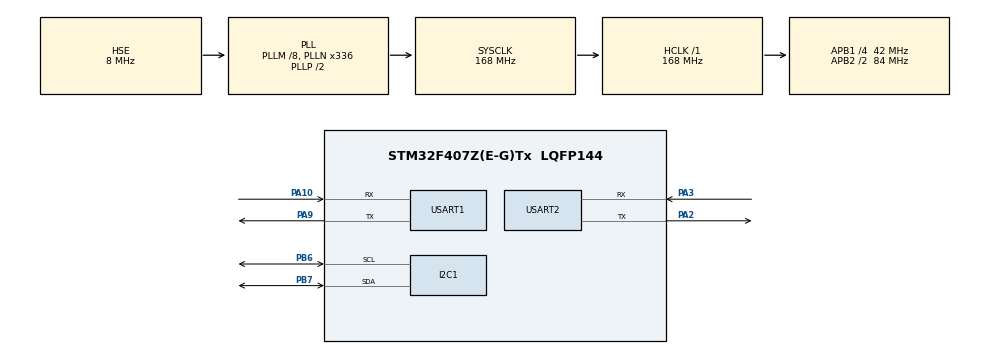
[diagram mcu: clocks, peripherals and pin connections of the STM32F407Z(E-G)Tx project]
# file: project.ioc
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FREERTOS.INCLUDE_vTaskDelayUntil=1
FREERTOS.Tasks01=UI,0,128,StartDefaultTask,Default,NULL,Dynamic,NULL,NULL;Comm,-1,128,StartTask02,Default,NULL,Dynamic,NULL,NULL
Mcu.Family=STM32F4
Mcu.Name=STM32F407Z(E-G)Tx
Mcu.Package=LQFP144
NVIC.PriorityGroup=NVIC_PRIORITYGROUP_4
NVIC.TIM1_UP_TIM10_IRQn=true\:15\:0\:false\:false\:true\:false\:false\:true\:true
NVIC.TimeBase=TIM1_UP_TIM10_IRQn
NVIC.TimeBaseIP=TIM1
NVIC.USART2_IRQn=true\:5\:0\:false\:false\:true\:true\:true\:true\:true
PA10.Mode=Asynchronous
PA10.Signal=USART1_RX
PA13.Mode=Serial_Wire
PA13.Signal=SYS_JTMS-SWDIO
PA14.Mode=Serial_Wire
PA14.Signal=SYS_JTCK-SWCLK
PA2.Mode=Asynchronous
PA2.Signal=USART2_TX
PA3.Mode=Asynchronous
PA3.Signal=USART2_RX
PA9.Mode=Asynchronous
PA9.Signal=USART1_TX
PB6.Mode=I2C
PB6.Signal=I2C1_SCL
PB7.Mode=I2C
PB7.Signal=I2C1_SDA
PC14-OSC32_IN.Mode=LSE-External-Oscillator
PC14-OSC32_IN.Signal=RCC_OSC32_IN
PC15-OSC32_OUT.Mode=LSE-External-Oscillator
PC15-OSC32_OUT.Signal=RCC_OSC32_OUT
PH0-OSC_IN.Mode=HSE-External-Oscillator
PH0-OSC_IN.Signal=RCC_OSC_IN
PH1-OSC_OUT.Mode=HSE-External-Oscillator
PH1-OSC_OUT.Signal=RCC_OSC_OUT
ProjectManager.HeapSize=0x200
ProjectManager.StackSize=0x400
ProjectManager.TargetToolchain=MDK-ARM V5.32
RCC.48MHZClocksFreq_Value=84000000
RCC.AHBFreq_Value=168000000
RCC.APB1CLKDivider=RCC_HCLK_DIV4
RCC.APB1Freq_Value=42000000
RCC.APB1TimFreq_Value=84000000
RCC.APB2CLKDivider=RCC_HCLK_DIV2
RCC.APB2Freq_Value=84000000
RCC.APB2TimFreq_Value=168000000
RCC.CortexFreq_Value=168000000
RCC.HCLKFreq_Value=168000000
RCC.HSE_VALUE=8000000
RCC.HSI_VALUE=16000000
RCC.PLLM=8
RCC.PLLN=336
RCC.PLLSourceVirtual=RCC_PLLSOURCE_HSE
RCC.SYSCLKFreq_VALUE=168000000
RCC.SYSCLKSource=RCC_SYSCLKSOURCE_PLLCLK
RCC.VCOOutputFreq_Value=336000000
RTC.Hours=11
RTC.Minutes=59
RTC.Seconds=55
USART1.VirtualMode=VM_ASYNC
USART2.VirtualMode=VM_ASYNC
VP_FREERTOS_VS_CMSIS_V1.Mode=CMSIS_V1
VP_RTC_VS_RTC_Activate.Mode=RTC_Enabled
VP_RTC_VS_RTC_Calendar.Mode=RTC_Calendar
VP_SYS_VS_tim1.Mode=TIM1
board=custom

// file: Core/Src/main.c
/* USER CODE BEGIN Header */
/**
  ******************************************************************************
  * @file           : main.c
  * @brief          : Main program body
  ******************************************************************************
  * @attention
  *
  * Copyright (c) 2026 STMicroelectronics.
  * All rights reserved.
  *
  * This software is licensed under terms that can be found in the LICENSE file
  * in the root directory of this software component.
  * If no LICENSE file comes with this software, it is provided AS-IS.
  *
  ******************************************************************************
  */
/* USER CODE END Header */
#include "main.h"
#include "cmsis_os.h"
#include "i2c.h"
#include "rtc.h"
#include "usart.h"
#include "gpio.h"

/* USER CODE BEGIN Includes */
#include "stdio.h"
#include "esp8266.h"

void MPU6050_Init(void)
{
    uint8_t data = 0x00;
    HAL_I2C_Mem_Write(&hi2c1, 0xD0, 0x6B, 1, &data, 1, 100);
    HAL_Delay(100);
    data = 0x10;
    HAL_I2C_Mem_Write(&hi2c1, 0xD0, 0x1C, 1, &data, 1, 100);
}

void MPU6050_Read_Accel(int16_t *ax, int16_t *ay, int16_t *az)
{
    uint8_t buf[6];
    if (HAL_I2C_Mem_Read(&hi2c1, 0xD0, 0x3B, 1, buf, 6, 100) == HAL_OK) {
        *ax = (buf[0] << 8) | buf[1];
        *ay = (buf[2] << 8) | buf[3];
        *az = (buf[4] << 8) | buf[5];
    } else {
        *ax = *ay = *az = 0;
    }
}
/* USER CODE END Includes */

/* USER CODE BEGIN PTD */
QueueHandle_t uart2_rx_queue;
/* USER CODE END PTD */

/* USER CODE BEGIN PM */
uint8_t rx_data;
uint8_t ble_rx_buffer[1];
/* USER CODE END PM */

void SystemClock_Config(void);
void MX_FREERTOS_Init(void);

int main(void)
{

  /* MCU Configuration--------------------------------------------------------*/

  /* Reset of all peripherals, Initializes the Flash interface and the Systick. */
  HAL_Init();

  /* Configure the system clock */
  SystemClock_Config();

  /* Initialize all configured peripherals */
  MX_GPIO_Init();
  MX_USART1_UART_Init();
  MX_I2C1_Init();
  MX_USART2_UART_Init();
  MX_RTC_Init();
  /* USER CODE BEGIN 2 */
MPU6050_Init();
  /* USER CODE END 2 */

  /* Call init function for freertos objects (in freertos.c) */
  MX_FREERTOS_Init();

  /* Start scheduler */
  osKernelStart();
  /* We should never get here as control is now taken by the scheduler */
  /* Infinite loop */
  /* USER CODE BEGIN WHILE */
	// ?? MPU6050 WHO_AM_I ???
  while (1)
  {
    /* USER CODE END WHILE */

  }
}

void SystemClock_Config(void)
{
  RCC_OscInitTypeDef RCC_OscInitStruct = {0};
  RCC_ClkInitTypeDef RCC_ClkInitStruct = {0};

  /** Configure the main internal regulator output voltage
  */
  __HAL_RCC_PWR_CLK_ENABLE();
  __HAL_PWR_VOLTAGESCALING_CONFIG(PWR_REGULATOR_VOLTAGE_SCALE1);

  /** Initializes the RCC Oscillators according to the specified parameters
  * in the RCC_OscInitTypeDef structure.
  */
  RCC_OscInitStruct.OscillatorType = RCC_OSCILLATORTYPE_LSI|RCC_OSCILLATORTYPE_HSE;
  RCC_OscInitStruct.HSEState = RCC_HSE_ON;
  RCC_OscInitStruct.LSIState = RCC_LSI_ON;
  RCC_OscInitStruct.PLL.PLLState = RCC_PLL_ON;
  RCC_OscInitStruct.PLL.PLLSource = RCC_PLLSOURCE_HSE;
  RCC_OscInitStruct.PLL.PLLM = 8;
  RCC_OscInitStruct.PLL.PLLN = 336;
  RCC_OscInitStruct.PLL.PLLP = RCC_PLLP_DIV2;
  RCC_OscInitStruct.PLL.PLLQ = 4;
  if (HAL_RCC_OscConfig(&RCC_OscInitStruct) != HAL_OK)
  {
    Error_Handler();
  }

  /** Initializes the CPU, AHB and APB buses clocks
  */
  RCC_ClkInitStruct.ClockType = RCC_CLOCKTYPE_HCLK|RCC_CLOCKTYPE_SYSCLK
                              |RCC_CLOCKTYPE_PCLK1|RCC_CLOCKTYPE_PCLK2;
  RCC_ClkInitStruct.SYSCLKSource = RCC_SYSCLKSOURCE_PLLCLK;
  RCC_ClkInitStruct.AHBCLKDivider = RCC_SYSCLK_DIV1;
  RCC_ClkInitStruct.APB1CLKDivider = RCC_HCLK_DIV4;
  RCC_ClkInitStruct.APB2CLKDivider = RCC_HCLK_DIV2;

  if (HAL_RCC_ClockConfig(&RCC_ClkInitStruct, FLASH_LATENCY_5) != HAL_OK)
  {
    Error_Handler();
  }
}

void HAL_TIM_PeriodElapsedCallback(TIM_HandleTypeDef *htim)
{
  if (htim->Instance == TIM1) {
    HAL_IncTick();
  }
}

void Error_Handler(void)
{
  __disable_irq();
  while (1)
  {
  }
}

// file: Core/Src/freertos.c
/* USER CODE BEGIN Header */
/**
  ******************************************************************************
  * File Name          : freertos.c
  * Description        : Code for freertos applications
  ******************************************************************************
  * @attention
  *
  * Copyright (c) 2026 STMicroelectronics.
  * All rights reserved.
  *
  * This software is licensed under terms that can be found in the LICENSE file
  * in the root directory of this software component.
  * If no LICENSE file comes with this software, it is provided AS-IS.
  *
  ******************************************************************************
  */

/* USER CODE END Header */

#include "FreeRTOS.h"
#include "task.h"
#include "main.h"
#include "cmsis_os.h"

/* USER CODE BEGIN Includes */
#include "stdio.h"
#include <string.h>
#include <stdlib.h>
#include "rtc.h"

extern UART_HandleTypeDef huart2;
extern void MPU6050_Read_Accel(int16_t *ax, int16_t *ay, int16_t *az);
void Sensor_Task(void *pvParameters);
void Process_Task(void *pvParameters);
void Receive_Task(void *pvParameters);
void MedicineReminder_Task(void *pvParameters);
void BL_Task(void *pvParaneters);

QueueHandle_t xAccelQueue;
QueueHandle_t xUartRxQueue;

uint8_t rx_byte;
/* USER CODE END Includes */

osThreadId UIHandle;
osThreadId CommHandle;

void StartDefaultTask(void const * argument);
void StartTask02(void const * argument);

void MX_FREERTOS_Init(void); /* (MISRA C 2004 rule 8.1) */

/* GetIdleTaskMemory prototype (linked to static allocation support) */
void vApplicationGetIdleTaskMemory( StaticTask_t **ppxIdleTaskTCBBuffer, StackType_t **ppxIdleTaskStackBuffer, uint32_t *pulIdleTaskStackSize );

/* USER CODE BEGIN GET_IDLE_TASK_MEMORY */
static StaticTask_t xIdleTaskTCBBuffer;
static StackType_t xIdleStack[configMINIMAL_STACK_SIZE];

void vApplicationGetIdleTaskMemory( StaticTask_t **ppxIdleTaskTCBBuffer, StackType_t **ppxIdleTaskStackBuffer, uint32_t *pulIdleTaskStackSize )
{
  *ppxIdleTaskTCBBuffer = &xIdleTaskTCBBuffer;
  *ppxIdleTaskStackBuffer = &xIdleStack[0];
  *pulIdleTaskStackSize = configMINIMAL_STACK_SIZE;
  /* place for user code */
}
/* USER CODE END GET_IDLE_TASK_MEMORY */

void MX_FREERTOS_Init(void) {
  /* USER CODE BEGIN Init */
xAccelQueue = xQueueCreate(10, sizeof(int16_t) * 3);
if (xAccelQueue == NULL) {
    while (1);
}

// ????????(??256??)
xUartRxQueue = xQueueCreate(256, sizeof(uint8_t));
if (xUartRxQueue == NULL) {
    while (1);
}

// ?? USART2 ????,????1???
HAL_UART_Receive_IT(&huart2, (uint8_t*)&rx_byte, 1);
  /* USER CODE END Init */

  /* USER CODE BEGIN RTOS_MUTEX */
  osThreadDef(SensorTask, Sensor_Task, osPriorityHigh, 0, 512);
    osThreadCreate(osThread(SensorTask), NULL);
  /* USER CODE END RTOS_MUTEX */

  /* USER CODE BEGIN RTOS_SEMAPHORES */
  osThreadDef(ProcessTask, Process_Task, osPriorityHigh, 0, 1024);
    osThreadCreate(osThread(ProcessTask), NULL);
  /* USER CODE END RTOS_SEMAPHORES */

  /* USER CODE BEGIN RTOS_TIMERS */

/*
  osThreadDef(ReceiveTask, Receive_Task, osPriorityNormal, 0, 1024);
    osThreadCreate(osThread(ReceiveTask), NULL);
*/
osThreadDef(MedicineReminder, MedicineReminder_Task, osPriorityNormal, 0, 256);
osThreadCreate(osThread(MedicineReminder), NULL);

  /* USER CODE END RTOS_TIMERS */

  /* Create the thread(s) */
  /* definition and creation of UI */
  osThreadDef(UI, StartDefaultTask, osPriorityNormal, 0, 128);
  UIHandle = osThreadCreate(osThread(UI), NULL);

  /* definition and creation of Comm */
  osThreadDef(Comm, StartTask02, osPriorityBelowNormal, 0, 128);
  CommHandle = osThreadCreate(osThread(Comm), NULL);

}

void StartDefaultTask(void const * argument)
{
  for(;;)
  {
    osDelay(1);
  }
}

void StartTask02(void const * argument)
{
  for(;;)
  {
    osDelay(1);
  }
}

/* USER CODE BEGIN Application */
/* USER CODE BEGIN 4 */

// ?? AT ??

void MedicineReminder_Task(void *pvParameters)
{

    typedef struct {
        uint8_t hour;
        uint8_t minute;
    } MedTime_t;

    const MedTime_t med_times[] = {
        {8, 0},
        {12, 0},
        {18, 0}
    };
    const int num_times = sizeof(med_times) / sizeof(med_times[0]);

    int last_alert[num_times];
    for (int i = 0; i < num_times; i++) {
        last_alert[i] = 0;
    }

    uint8_t last_minute = 0xFF;

    for (;;)
    {
        uint8_t hour, minute, second;

         RTC_TimeTypeDef sTime;
    RTC_DateTypeDef sDate;

    HAL_RTC_GetDate(&hrtc, &sDate, RTC_FORMAT_BIN);
        if (HAL_RTC_GetTime(&hrtc, &sTime, RTC_FORMAT_BIN) != HAL_OK) {
					 printf("Time: %02d:%02d:%02d\r\n", sTime.Hours, sTime.Minutes, sTime.Seconds);
            vTaskDelay(pdMS_TO_TICKS(1000));
            continue;
        }
        hour = sTime.Hours;
        minute = sTime.Minutes;
        second = sTime.Seconds;

        if (minute != last_minute)
        {
            last_minute = minute;

            for (int i = 0; i < num_times; i++)
            {
                if (hour == med_times[i].hour && minute == med_times[i].minute)
                {
                    if (!last_alert[i])
                    {

                        printf("[REMINDER] Take medicine now! Time: %02d:%02d\r\n", hour, minute);

                        last_alert[i] = 1;
                    }
                }
                else
                {

                    if (last_alert[i] == 1 && (hour != med_times[i].hour || minute != med_times[i].minute))
                    {
                        last_alert[i] = 0;
                    }
                }
            }
        }

        vTaskDelay(pdMS_TO_TICKS(100));
    }
}

void Process_Task(void *pvParameters)
{
    int16_t data[3];

    // ?????????(??,????)
    static enum {
        STATE_NORMAL,
        STATE_IMPACT,
        STATE_FREE_FALL,
        STATE_STATIONARY
    } fall_state = STATE_NORMAL;
    static uint32_t state_start_time = 0;
    float fx, fy, fz, total_g;

    for (;;)
    {
        if (xQueueReceive(xAccelQueue, data, portMAX_DELAY) == pdTRUE)
        {
            int16_t ax = data[0], ay = data[1], az = data[2];

            // ??? g(?? ?8g,LSB = 4096)

            int32_t sum_sq =(int32_t)ax*ax + (int32_t)ay*ay + (int32_t)az*az;
            printf("sum_sq = %d\n", sum_sq);
            uint32_t now = xTaskGetTickCount() * portTICK_PERIOD_MS;  // ????

            // ? switch ???????(??????????)
const int32_t IMPACT_THRESHOLD_SQ    = (int32_t)(2.5f * 4096) * (int32_t)(2.5f * 4096);   // ? 104857600
const int32_t FREE_FALL_THRESHOLD_SQ = (int32_t)(0.6f * 4096) * (int32_t)(0.6f * 4096);   // ?  6029312
const int32_t STATIONARY_LOW_SQ      = (int32_t)(0.8f * 4096) * (int32_t)(0.8f * 4096);   // ? 10737418
const int32_t STATIONARY_HIGH_SQ     = (int32_t)(1.2f * 4096) * (int32_t)(1.2f * 4096);   // ? 24159191
const int32_t CANCEL_THRESHOLD_SQ    = (int32_t)(1.5f * 4096) * (int32_t)(1.5f * 4096);   // ? 37748736

switch (fall_state)
{
    case STATE_NORMAL:
        if (sum_sq > IMPACT_THRESHOLD_SQ)   // ???? ( > 2.5g )
        {
            fall_state = STATE_IMPACT;
            state_start_time = now;
            printf("Impact detected! sum_sq=%ld\r\n", sum_sq);
        }
        break;

    case STATE_IMPACT:
        if (sum_sq < FREE_FALL_THRESHOLD_SQ)   // ???? ( < 0.6g )
        {
            fall_state = STATE_FREE_FALL;
            state_start_time = now;
            printf("Free fall detected!\r\n");
        }
        else if (now - state_start_time > 500)  // ??? 500ms ????,??
        {
            fall_state = STATE_NORMAL;
            printf("Reset from impact (timeout)\r\n");
        }
        break;

    case STATE_FREE_FALL:
        if (sum_sq > STATIONARY_LOW_SQ && sum_sq < STATIONARY_HIGH_SQ)   // ???? (0.8g ~ 1.2g)
        {
            // ???? 2 ?????
            if (now - state_start_time > 2000)
            {
                fall_state = STATE_NORMAL;
                printf("*** FALL DETECTED! *** Send alert.\r\n");
                // ???????????????
            }
        }
        else if (sum_sq > CANCEL_THRESHOLD_SQ)   // ???? (>1.5g),????
        {
            fall_state = STATE_NORMAL;
            printf("Fall cancelled (user moved)\r\n");
        }
        break;

    default:
        fall_state = STATE_NORMAL;
        break;
}

        }
    }
}

void Sensor_Task(void *pvParameters)
{
    int16_t ax, ay, az;
    TickType_t xLastWakeTime = xTaskGetTickCount();
    int16_t data[3];
    for (;;)
    {
        MPU6050_Read_Accel(&ax, &ay, &az);
        data[0] = ax; data[1] = ay; data[2] = az;

        xQueueSend(xAccelQueue, data, 0);
        vTaskDelayUntil(&xLastWakeTime, pdMS_TO_TICKS(50));
    }
}
/* USER CODE END 4 */

void HAL_UART_RxCpltCallback(UART_HandleTypeDef *huart)
{
     if (huart->Instance == USART2) {
        BaseType_t xHigherPriorityTaskWoken = pdFALSE;
        xQueueSendFromISR(xUartRxQueue, &rx_byte, &xHigherPriorityTaskWoken);
        HAL_UART_Receive_IT(&huart2, &rx_byte, 1);
        portYIELD_FROM_ISR(xHigherPriorityTaskWoken);
    }
}

/* USER CODE END Application */
